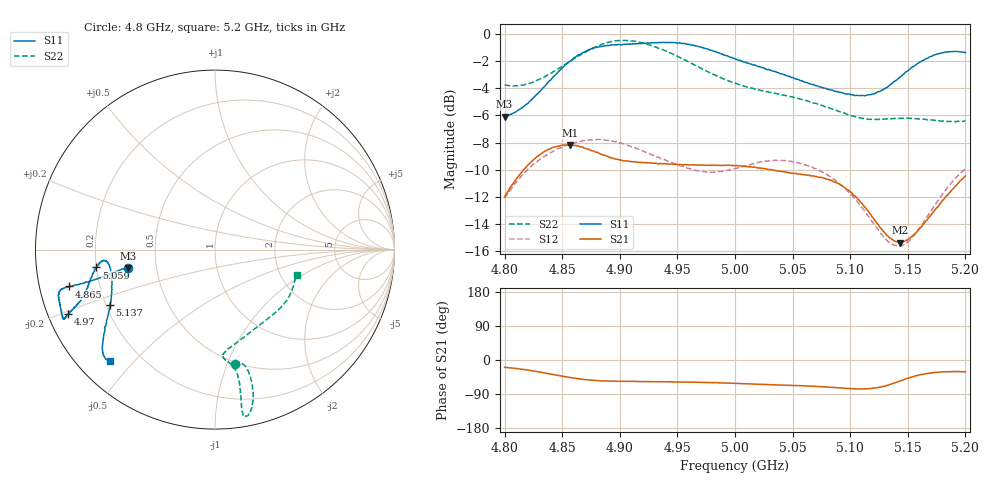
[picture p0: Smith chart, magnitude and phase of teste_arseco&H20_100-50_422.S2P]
! Network Analyzer HP8722D
! Hewlett-Packard
! Data name: Linha & Wilkinson
! Saver's name: Rodrigo Anjos
! Comments: Teste da utilização de aquisição
! continua pelo VNA HP8722D
! Time and date: 6/5/2025 16:05
!  Frequency  S11  S21  S12  S22
# HZ  S  MA R 50
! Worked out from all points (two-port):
!   401 points, 4.8 GHz to 5.2 GHz, reference 50 ohm
!   highest |S21| = -8.17 dB at 4.857 GHz (marker M1); lowest = -15.3 dB at 5.143 GHz (marker M2)
!   |S21| within 3 dB of the highest: 4.806 GHz to 5.093 GHz (287 MHz wide, 5.8 % of centre); 5.191882 GHz to end of sweep
!   lowest |S11| = -6.1 dB at 4.8 GHz (marker M3), VSWR 2.97, Z = 17 - j4.65 ohm
!   |S11| at or under -10 dB: nowhere
!   |S22| runs from -6.5 to -0.5 dB; largest |S21 - S12| = 0.62
!   S11 on the Smith chart (normalised r, x): 4.8 GHz: 0.34, -0.09; 4.865 GHz: 0.09, -0.12; 4.97 GHz: 0.06, -0.21; 5.059 GHz: 0.20, -0.07; 5.137 GHz: 0.22, -0.24; 5.2 GHz: 0.09, -0.43
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4.8e9  0.4959 -168.0  0.2513 -19.5  0.2485 -140.7  0.6478 -80.3
4.829e9  0.603 -166.8  0.3548 -31.0  0.3418 -144.9  0.6773 -75.2
4.857e9  0.7951 -165.7  0.3905 -46.2  0.3937 -150.1  0.7942 -74.7
4.865e9  0.8381 -165.8  0.3853 -49.7  0.4014 -151.5  0.8328 -75.2
4.867e9  0.8477 -165.6  0.3842 -50.6  0.4034 -151.9  0.8423 -75.4
4.88e9  0.8913 -165.1  0.3672 -54.5  0.409 -154.0  0.8979 -76.8
4.898e9  0.9102 -162.8  0.3456 -56.1  0.3986 -156.3  0.9437 -78.9
4.914e9  0.9189 -159.4  0.338 -56.3  0.3794 -156.9  0.9387 -80.2
4.934e9  0.9282 -156.3  0.3323 -57.4  0.3516 -155.6  0.884 -80.4
4.97e9  0.8942 -156.3  0.3293 -59.1  0.3126 -146.9  0.7484 -79.6
5e9  0.8097 -158.9  0.3275 -61.7  0.3199 -137.1  0.6574 -81.2
5.032e9  0.7304 -164.4  0.3162 -65.4  0.3418 -134.1  0.6073 -85.4
5.059e9  0.6678 -171.4  0.3038 -68.1  0.3315 -135.9  0.5728 -84.4
5.067e9  0.6516 -173.0  0.3005 -69.0  0.3234 -136.7  0.5582 -82.6
5.087e9  0.6147 -174.3  0.2848 -72.8  0.2898 -138.4  0.5244 -74.8
5.103e9  0.5953 -171.4  0.2554 -76.0  0.2504 -138.6  0.498 -65.1
5.134e9  0.6456 -154.0  0.1781 -65.3  0.1707 -120.7  0.487 -43.4
5.137e9  0.6616 -152.3  0.1747 -62.3  0.1683 -116.9  0.4881 -41.4
5.143e9  0.6912 -149.2  0.1708 -55.7  0.1657 -109.0  0.4891 -38.0
5.154e9  0.7558 -144.4  0.1807 -44.3  0.1789 -95.0  0.4884 -32.3
5.173e9  0.836 -138.7  0.2236 -33.2  0.2328 -80.6  0.4812 -24.3
5.2e9  0.8515 -133.4  0.3004 -31.2  0.3189 -76.8  0.4777 -17.5
